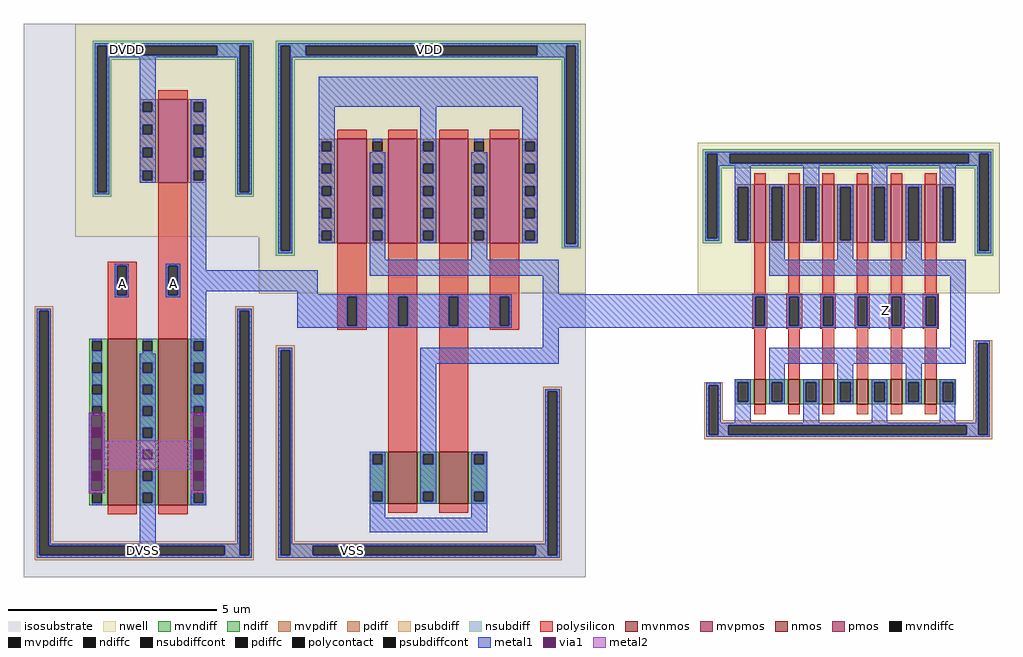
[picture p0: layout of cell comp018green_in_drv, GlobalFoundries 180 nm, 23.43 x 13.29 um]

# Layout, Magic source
magic
tech gf180mcuD
magscale 1 10
<< isosubstrate >>
rect -496 -83 2202 2575
<< nwell >>
rect -247 1551 2202 2575
rect 633 1281 2202 1551
rect 2741 1281 4189 2004
<< nmos >>
rect 3011 747 3067 867
rect 3175 747 3231 867
rect 3339 747 3395 867
rect 3503 747 3559 867
rect 3667 747 3723 867
rect 3831 747 3887 867
<< pmos >>
rect 3011 1523 3067 1803
rect 3175 1523 3231 1803
rect 3339 1523 3395 1803
rect 3503 1523 3559 1803
rect 3667 1523 3723 1803
rect 3831 1523 3887 1803
<< mvnmos >>
rect -92 263 48 1063
rect 152 263 292 1063
rect 1255 270 1395 520
rect 1499 270 1639 520
<< mvpmos >>
rect 152 1811 292 2211
rect 1011 1522 1151 2022
rect 1255 1522 1395 2022
rect 1499 1522 1639 2022
rect 1743 1522 1883 2022
<< ndiff >>
rect 2919 854 3011 867
rect 2919 760 2932 854
rect 2982 760 3011 854
rect 2919 747 3011 760
rect 3067 854 3175 867
rect 3067 760 3096 854
rect 3146 760 3175 854
rect 3067 747 3175 760
rect 3231 854 3339 867
rect 3231 760 3260 854
rect 3310 760 3339 854
rect 3231 747 3339 760
rect 3395 854 3503 867
rect 3395 760 3424 854
rect 3474 760 3503 854
rect 3395 747 3503 760
rect 3559 854 3667 867
rect 3559 760 3588 854
rect 3638 760 3667 854
rect 3559 747 3667 760
rect 3723 854 3831 867
rect 3723 760 3752 854
rect 3802 760 3831 854
rect 3723 747 3831 760
rect 3887 854 3979 867
rect 3887 760 3916 854
rect 3966 760 3979 854
rect 3887 747 3979 760
<< pdiff >>
rect 2919 1790 3011 1803
rect 2919 1536 2932 1790
rect 2982 1536 3011 1790
rect 2919 1523 3011 1536
rect 3067 1790 3175 1803
rect 3067 1536 3096 1790
rect 3146 1536 3175 1790
rect 3067 1523 3175 1536
rect 3231 1790 3339 1803
rect 3231 1536 3260 1790
rect 3310 1536 3339 1790
rect 3231 1523 3339 1536
rect 3395 1790 3503 1803
rect 3395 1536 3424 1790
rect 3474 1536 3503 1790
rect 3395 1523 3503 1536
rect 3559 1790 3667 1803
rect 3559 1536 3588 1790
rect 3638 1536 3667 1790
rect 3559 1523 3667 1536
rect 3723 1790 3831 1803
rect 3723 1536 3752 1790
rect 3802 1536 3831 1790
rect 3723 1523 3831 1536
rect 3887 1790 3979 1803
rect 3887 1536 3916 1790
rect 3966 1536 3979 1790
rect 3887 1523 3979 1536
<< mvndiff >>
rect -180 1050 -92 1063
rect -180 1004 -167 1050
rect -121 1004 -92 1050
rect -180 946 -92 1004
rect -180 900 -167 946
rect -121 900 -92 946
rect -180 842 -92 900
rect -180 796 -167 842
rect -121 796 -92 842
rect -180 738 -92 796
rect -180 692 -167 738
rect -121 692 -92 738
rect -180 634 -92 692
rect -180 588 -167 634
rect -121 588 -92 634
rect -180 530 -92 588
rect -180 484 -167 530
rect -121 484 -92 530
rect -180 426 -92 484
rect -180 380 -167 426
rect -121 380 -92 426
rect -180 322 -92 380
rect -180 276 -167 322
rect -121 276 -92 322
rect -180 263 -92 276
rect 48 1050 152 1063
rect 48 1004 77 1050
rect 123 1004 152 1050
rect 48 946 152 1004
rect 48 900 77 946
rect 123 900 152 946
rect 48 842 152 900
rect 48 796 77 842
rect 123 796 152 842
rect 48 738 152 796
rect 48 692 77 738
rect 123 692 152 738
rect 48 634 152 692
rect 48 588 77 634
rect 123 588 152 634
rect 48 530 152 588
rect 48 484 77 530
rect 123 484 152 530
rect 48 426 152 484
rect 48 380 77 426
rect 123 380 152 426
rect 48 322 152 380
rect 48 276 77 322
rect 123 276 152 322
rect 48 263 152 276
rect 292 1050 380 1063
rect 292 1004 321 1050
rect 367 1004 380 1050
rect 292 946 380 1004
rect 292 900 321 946
rect 367 900 380 946
rect 292 842 380 900
rect 292 796 321 842
rect 367 796 380 842
rect 292 738 380 796
rect 292 692 321 738
rect 367 692 380 738
rect 292 634 380 692
rect 292 588 321 634
rect 367 588 380 634
rect 292 530 380 588
rect 292 484 321 530
rect 367 484 380 530
rect 292 426 380 484
rect 292 380 321 426
rect 367 380 380 426
rect 292 322 380 380
rect 292 276 321 322
rect 367 276 380 322
rect 292 263 380 276
rect 1167 507 1255 520
rect 1167 461 1180 507
rect 1226 461 1255 507
rect 1167 329 1255 461
rect 1167 283 1180 329
rect 1226 283 1255 329
rect 1167 270 1255 283
rect 1395 507 1499 520
rect 1395 461 1424 507
rect 1470 461 1499 507
rect 1395 329 1499 461
rect 1395 283 1424 329
rect 1470 283 1499 329
rect 1395 270 1499 283
rect 1639 507 1727 520
rect 1639 461 1668 507
rect 1714 461 1727 507
rect 1639 329 1727 461
rect 1639 283 1668 329
rect 1714 283 1727 329
rect 1639 270 1727 283
<< mvpdiff >>
rect 64 2198 152 2211
rect 64 2152 77 2198
rect 123 2152 152 2198
rect 64 2089 152 2152
rect 64 2043 77 2089
rect 123 2043 152 2089
rect 64 1980 152 2043
rect 64 1934 77 1980
rect 123 1934 152 1980
rect 64 1870 152 1934
rect 64 1824 77 1870
rect 123 1824 152 1870
rect 64 1811 152 1824
rect 292 2198 380 2211
rect 292 2152 321 2198
rect 367 2152 380 2198
rect 292 2089 380 2152
rect 292 2043 321 2089
rect 367 2043 380 2089
rect 292 1980 380 2043
rect 292 1934 321 1980
rect 367 1934 380 1980
rect 292 1870 380 1934
rect 292 1824 321 1870
rect 367 1824 380 1870
rect 292 1811 380 1824
rect 923 2009 1011 2022
rect 923 1963 936 2009
rect 982 1963 1011 2009
rect 923 1902 1011 1963
rect 923 1856 936 1902
rect 982 1856 1011 1902
rect 923 1795 1011 1856
rect 923 1749 936 1795
rect 982 1749 1011 1795
rect 923 1688 1011 1749
rect 923 1642 936 1688
rect 982 1642 1011 1688
rect 923 1581 1011 1642
rect 923 1535 936 1581
rect 982 1535 1011 1581
rect 923 1522 1011 1535
rect 1151 2009 1255 2022
rect 1151 1963 1180 2009
rect 1226 1963 1255 2009
rect 1151 1902 1255 1963
rect 1151 1856 1180 1902
rect 1226 1856 1255 1902
rect 1151 1795 1255 1856
rect 1151 1749 1180 1795
rect 1226 1749 1255 1795
rect 1151 1688 1255 1749
rect 1151 1642 1180 1688
rect 1226 1642 1255 1688
rect 1151 1581 1255 1642
rect 1151 1535 1180 1581
rect 1226 1535 1255 1581
rect 1151 1522 1255 1535
rect 1395 2009 1499 2022
rect 1395 1963 1424 2009
rect 1470 1963 1499 2009
rect 1395 1902 1499 1963
rect 1395 1856 1424 1902
rect 1470 1856 1499 1902
rect 1395 1795 1499 1856
rect 1395 1749 1424 1795
rect 1470 1749 1499 1795
rect 1395 1688 1499 1749
rect 1395 1642 1424 1688
rect 1470 1642 1499 1688
rect 1395 1581 1499 1642
rect 1395 1535 1424 1581
rect 1470 1535 1499 1581
rect 1395 1522 1499 1535
rect 1639 2009 1743 2022
rect 1639 1963 1668 2009
rect 1714 1963 1743 2009
rect 1639 1902 1743 1963
rect 1639 1856 1668 1902
rect 1714 1856 1743 1902
rect 1639 1795 1743 1856
rect 1639 1749 1668 1795
rect 1714 1749 1743 1795
rect 1639 1688 1743 1749
rect 1639 1642 1668 1688
rect 1714 1642 1743 1688
rect 1639 1581 1743 1642
rect 1639 1535 1668 1581
rect 1714 1535 1743 1581
rect 1639 1522 1743 1535
rect 1883 2009 1971 2022
rect 1883 1963 1912 2009
rect 1958 1963 1971 2009
rect 1883 1902 1971 1963
rect 1883 1856 1912 1902
rect 1958 1856 1971 1902
rect 1883 1795 1971 1856
rect 1883 1749 1912 1795
rect 1958 1749 1971 1795
rect 1883 1688 1971 1749
rect 1883 1642 1912 1688
rect 1958 1642 1971 1688
rect 1883 1581 1971 1642
rect 1883 1535 1912 1581
rect 1958 1535 1971 1581
rect 1883 1522 1971 1535
<< ndiffc >>
rect 2932 760 2982 854
rect 3096 760 3146 854
rect 3260 760 3310 854
rect 3424 760 3474 854
rect 3588 760 3638 854
rect 3752 760 3802 854
rect 3916 760 3966 854
<< pdiffc >>
rect 2932 1536 2982 1790
rect 3096 1536 3146 1790
rect 3260 1536 3310 1790
rect 3424 1536 3474 1790
rect 3588 1536 3638 1790
rect 3752 1536 3802 1790
rect 3916 1536 3966 1790
<< mvndiffc >>
rect -167 1004 -121 1050
rect -167 900 -121 946
rect -167 796 -121 842
rect -167 692 -121 738
rect -167 588 -121 634
rect -167 484 -121 530
rect -167 380 -121 426
rect -167 276 -121 322
rect 77 1004 123 1050
rect 77 900 123 946
rect 77 796 123 842
rect 77 692 123 738
rect 77 588 123 634
rect 77 484 123 530
rect 77 380 123 426
rect 77 276 123 322
rect 321 1004 367 1050
rect 321 900 367 946
rect 321 796 367 842
rect 321 692 367 738
rect 321 588 367 634
rect 321 484 367 530
rect 321 380 367 426
rect 321 276 367 322
rect 1180 461 1226 507
rect 1180 283 1226 329
rect 1424 461 1470 507
rect 1424 283 1470 329
rect 1668 461 1714 507
rect 1668 283 1714 329
<< mvpdiffc >>
rect 77 2152 123 2198
rect 77 2043 123 2089
rect 77 1934 123 1980
rect 77 1824 123 1870
rect 321 2152 367 2198
rect 321 2043 367 2089
rect 321 1934 367 1980
rect 321 1824 367 1870
rect 936 1963 982 2009
rect 936 1856 982 1902
rect 936 1749 982 1795
rect 936 1642 982 1688
rect 936 1535 982 1581
rect 1180 1963 1226 2009
rect 1180 1856 1226 1902
rect 1180 1749 1226 1795
rect 1180 1642 1226 1688
rect 1180 1535 1226 1581
rect 1424 1963 1470 2009
rect 1424 1856 1470 1902
rect 1424 1749 1470 1795
rect 1424 1642 1470 1688
rect 1424 1535 1470 1581
rect 1668 1963 1714 2009
rect 1668 1856 1714 1902
rect 1668 1749 1714 1795
rect 1668 1642 1714 1688
rect 1668 1535 1714 1581
rect 1912 1963 1958 2009
rect 1912 1856 1958 1902
rect 1912 1749 1958 1795
rect 1912 1642 1958 1688
rect 1912 1535 1958 1581
<< psubdiff >>
rect -443 1196 -353 1218
rect -443 22 -421 1196
rect -375 90 -353 1196
rect 520 1196 610 1218
rect 520 90 542 1196
rect -375 68 542 90
rect 471 22 542 68
rect 588 22 610 1196
rect -443 0 610 22
rect 716 1008 806 1030
rect 716 22 738 1008
rect 784 90 806 1008
rect 4064 1041 4154 1055
rect 2771 840 2861 854
rect 1998 810 2088 832
rect 1998 90 2020 810
rect 784 68 2020 90
rect 784 22 892 68
rect 1962 22 2020 68
rect 2066 22 2088 810
rect 2771 602 2793 840
rect 2839 670 2861 840
rect 4064 670 4086 1041
rect 2839 648 4086 670
rect 2839 602 2887 648
rect 4032 602 4086 648
rect 4132 602 4154 1041
rect 2771 580 4154 602
rect 716 0 2088 22
<< nsubdiff >>
rect -164 2470 610 2492
rect -164 1766 -142 2470
rect -96 2424 12 2470
rect 434 2424 542 2470
rect -96 2402 542 2424
rect -96 1766 -74 2402
rect -164 1744 -74 1766
rect 520 1766 542 2402
rect 588 1766 610 2470
rect 520 1744 610 1766
rect 716 2470 2178 2492
rect 716 1484 738 2470
rect 784 2424 860 2470
rect 1970 2424 2110 2470
rect 784 2402 2110 2424
rect 784 1484 806 2402
rect 716 1462 806 1484
rect 2088 1519 2110 2402
rect 2156 1519 2178 2470
rect 2765 1950 4160 1972
rect 2765 1544 2787 1950
rect 2833 1904 2894 1950
rect 4041 1904 4092 1950
rect 2833 1882 4092 1904
rect 2833 1544 2855 1882
rect 2765 1522 2855 1544
rect 2088 1497 2178 1519
rect 4070 1484 4092 1882
rect 4138 1484 4160 1950
rect 4070 1462 4160 1484
<< psubdiffcont >>
rect -421 68 -375 1196
rect -421 22 471 68
rect 542 22 588 1196
rect 738 22 784 1008
rect 892 22 1962 68
rect 2020 22 2066 810
rect 2793 602 2839 840
rect 2887 602 4032 648
rect 4086 602 4132 1041
<< nsubdiffcont >>
rect -142 1766 -96 2470
rect 12 2424 434 2470
rect 542 1766 588 2470
rect 738 1484 784 2470
rect 860 2424 1970 2470
rect 2110 1519 2156 2470
rect 2787 1544 2833 1950
rect 2894 1904 4041 1950
rect 4092 1484 4138 1950
<< polysilicon >>
rect 152 2211 292 2255
rect -92 1412 48 1431
rect -92 1272 -47 1412
rect -1 1272 48 1412
rect -92 1063 48 1272
rect 152 1412 292 1811
rect 1011 2022 1151 2066
rect 1255 2022 1395 2066
rect 1499 2022 1639 2066
rect 1743 2022 1883 2066
rect 152 1272 199 1412
rect 245 1272 292 1412
rect 152 1063 292 1272
rect 1011 1265 1151 1522
rect -92 219 48 263
rect 152 219 292 263
rect 1011 1125 1058 1265
rect 1104 1125 1151 1265
rect 1011 1106 1151 1125
rect 1255 1265 1395 1522
rect 1255 1125 1302 1265
rect 1348 1125 1395 1265
rect 1255 520 1395 1125
rect 1499 1265 1639 1522
rect 1499 1125 1546 1265
rect 1592 1125 1639 1265
rect 1499 520 1639 1125
rect 1743 1265 1883 1522
rect 3011 1803 3067 1857
rect 3175 1803 3231 1857
rect 3339 1803 3395 1857
rect 3503 1803 3559 1857
rect 3667 1803 3723 1857
rect 3831 1803 3887 1857
rect 3011 1279 3067 1523
rect 3175 1279 3231 1523
rect 3339 1279 3395 1523
rect 3503 1279 3559 1523
rect 3667 1279 3723 1523
rect 3831 1279 3887 1523
rect 1743 1125 1790 1265
rect 1836 1125 1883 1265
rect 1743 1106 1883 1125
rect 3001 1265 3075 1279
rect 3001 1125 3016 1265
rect 3062 1125 3075 1265
rect 3001 1111 3075 1125
rect 3165 1265 3241 1279
rect 3165 1125 3180 1265
rect 3226 1125 3241 1265
rect 3165 1111 3241 1125
rect 3329 1265 3403 1279
rect 3329 1125 3344 1265
rect 3390 1125 3403 1265
rect 3329 1111 3403 1125
rect 3493 1265 3567 1279
rect 3493 1125 3508 1265
rect 3554 1125 3567 1265
rect 3493 1111 3567 1125
rect 3657 1265 3733 1279
rect 3657 1125 3672 1265
rect 3718 1125 3733 1265
rect 3657 1111 3733 1125
rect 3821 1265 3897 1279
rect 3821 1125 3836 1265
rect 3882 1125 3897 1265
rect 3821 1111 3897 1125
rect 3011 867 3067 1111
rect 3175 867 3231 1111
rect 3339 867 3395 1111
rect 3503 867 3559 1111
rect 3667 867 3723 1111
rect 3831 867 3887 1111
rect 1255 226 1395 270
rect 1499 226 1639 270
rect 3011 700 3067 747
rect 3175 700 3231 747
rect 3339 700 3395 747
rect 3503 700 3559 747
rect 3667 700 3723 747
rect 3831 700 3887 747
<< polycontact >>
rect -47 1272 -1 1412
rect 199 1272 245 1412
rect 1058 1125 1104 1265
rect 1302 1125 1348 1265
rect 1546 1125 1592 1265
rect 1790 1125 1836 1265
rect 3016 1125 3062 1265
rect 3180 1125 3226 1265
rect 3344 1125 3390 1265
rect 3508 1125 3554 1265
rect 3672 1125 3718 1265
rect 3836 1125 3882 1265
<< metal1 >>
rect -153 2470 599 2481
rect -153 1766 -142 2470
rect -96 2424 12 2470
rect 434 2424 542 2470
rect -96 2413 542 2424
rect -96 1766 -85 2413
rect 62 2198 138 2413
rect 62 2152 77 2198
rect 123 2152 138 2198
rect 62 2089 138 2152
rect 62 2043 77 2089
rect 123 2043 138 2089
rect 62 1980 138 2043
rect 62 1934 77 1980
rect 123 1934 138 1980
rect 62 1870 138 1934
rect 62 1824 77 1870
rect 123 1824 138 1870
rect 62 1811 138 1824
rect 306 2198 382 2211
rect 306 2152 321 2198
rect 367 2152 382 2198
rect 306 2089 382 2152
rect 306 2043 321 2089
rect 367 2043 382 2089
rect 306 1980 382 2043
rect 306 1934 321 1980
rect 367 1934 382 1980
rect 306 1870 382 1934
rect 306 1824 321 1870
rect 367 1824 382 1870
rect -153 1755 -85 1766
rect -58 1412 10 1423
rect -58 1272 -47 1412
rect -1 1272 10 1412
rect -58 1261 10 1272
rect 188 1412 256 1423
rect 188 1272 199 1412
rect 245 1272 256 1412
rect 188 1261 256 1272
rect 306 1391 382 1824
rect 531 1766 542 2413
rect 588 1766 599 2470
rect 531 1755 599 1766
rect 727 2470 2167 2481
rect 727 1484 738 2470
rect 784 2424 860 2470
rect 1970 2424 2110 2470
rect 784 2413 2110 2424
rect 784 1484 795 2413
rect 921 2177 1973 2321
rect 921 2009 997 2177
rect 921 1963 936 2009
rect 982 1963 997 2009
rect 921 1902 997 1963
rect 1180 2009 1226 2022
rect 1180 1958 1226 1963
rect 1409 2009 1485 2177
rect 1409 1963 1424 2009
rect 1470 1963 1485 2009
rect 921 1856 936 1902
rect 982 1856 997 1902
rect 921 1795 997 1856
rect 921 1749 936 1795
rect 982 1749 997 1795
rect 921 1688 997 1749
rect 921 1642 936 1688
rect 982 1642 997 1688
rect 921 1581 997 1642
rect 921 1535 936 1581
rect 982 1535 997 1581
rect 921 1522 997 1535
rect 1165 1902 1241 1958
rect 1165 1856 1180 1902
rect 1226 1856 1241 1902
rect 1165 1795 1241 1856
rect 1165 1749 1180 1795
rect 1226 1749 1241 1795
rect 1165 1688 1241 1749
rect 1165 1642 1180 1688
rect 1226 1642 1241 1688
rect 1165 1581 1241 1642
rect 1165 1535 1180 1581
rect 1226 1535 1241 1581
rect 727 1473 795 1484
rect 1165 1442 1241 1535
rect 1409 1902 1485 1963
rect 1668 2009 1714 2022
rect 1668 1958 1714 1963
rect 1897 2009 1973 2177
rect 1897 1963 1912 2009
rect 1958 1963 1973 2009
rect 1409 1856 1424 1902
rect 1470 1856 1485 1902
rect 1409 1795 1485 1856
rect 1409 1749 1424 1795
rect 1470 1749 1485 1795
rect 1409 1688 1485 1749
rect 1409 1642 1424 1688
rect 1470 1642 1485 1688
rect 1409 1581 1485 1642
rect 1409 1535 1424 1581
rect 1470 1535 1485 1581
rect 1409 1522 1485 1535
rect 1653 1902 1729 1958
rect 1653 1856 1668 1902
rect 1714 1856 1729 1902
rect 1653 1795 1729 1856
rect 1653 1749 1668 1795
rect 1714 1749 1729 1795
rect 1653 1688 1729 1749
rect 1653 1642 1668 1688
rect 1714 1642 1729 1688
rect 1653 1581 1729 1642
rect 1653 1535 1668 1581
rect 1714 1535 1729 1581
rect 1653 1442 1729 1535
rect 1897 1902 1973 1963
rect 1897 1856 1912 1902
rect 1958 1856 1973 1902
rect 1897 1795 1973 1856
rect 1897 1749 1912 1795
rect 1958 1749 1973 1795
rect 1897 1688 1973 1749
rect 1897 1642 1912 1688
rect 1958 1642 1973 1688
rect 1897 1581 1973 1642
rect 1897 1535 1912 1581
rect 1958 1535 1973 1581
rect 1897 1522 1973 1535
rect 2099 1519 2110 2413
rect 2156 1519 2167 2470
rect 2776 1950 4149 1961
rect 2776 1544 2787 1950
rect 2833 1904 2894 1950
rect 4041 1904 4092 1950
rect 2833 1893 4092 1904
rect 2833 1544 2844 1893
rect 2776 1533 2844 1544
rect 2919 1790 2995 1893
rect 2919 1536 2932 1790
rect 2982 1536 2995 1790
rect 2919 1523 2995 1536
rect 3083 1790 3159 1803
rect 3083 1536 3096 1790
rect 3146 1536 3159 1790
rect 2099 1503 2167 1519
rect 3083 1445 3159 1536
rect 3247 1790 3323 1893
rect 3247 1536 3260 1790
rect 3310 1536 3323 1790
rect 3247 1523 3323 1536
rect 3411 1790 3487 1803
rect 3411 1536 3424 1790
rect 3474 1536 3487 1790
rect 3084 1442 3159 1445
rect 3411 1442 3487 1536
rect 3575 1790 3651 1893
rect 3575 1536 3588 1790
rect 3638 1536 3651 1790
rect 3575 1523 3651 1536
rect 3739 1790 3815 1803
rect 3739 1536 3752 1790
rect 3802 1536 3815 1790
rect 3739 1442 3815 1536
rect 3903 1790 3979 1893
rect 3903 1536 3916 1790
rect 3966 1536 3979 1790
rect 3903 1523 3979 1536
rect 4081 1484 4092 1893
rect 4138 1484 4149 1950
rect 4081 1473 4149 1484
rect 306 1291 917 1391
rect 1165 1366 2073 1442
rect 3084 1366 4028 1442
rect -432 1196 -364 1207
rect -432 22 -421 1196
rect -375 79 -364 1196
rect -167 1050 -121 1063
rect -167 946 -121 1004
rect 77 1050 123 1063
rect 77 990 123 1004
rect 306 1050 382 1291
rect 817 1276 917 1291
rect 1997 1276 2073 1366
rect 817 1265 1847 1276
rect 306 1004 321 1050
rect 367 1004 382 1050
rect -167 842 -121 900
rect -167 738 -121 796
rect -182 696 -167 708
rect 62 946 138 990
rect 62 900 77 946
rect 123 900 138 946
rect 62 842 138 900
rect 62 796 77 842
rect 123 796 138 842
rect 62 738 138 796
rect -121 696 -106 708
rect -182 332 -170 696
rect -118 332 -106 696
rect -182 322 -106 332
rect -182 320 -167 322
rect -121 320 -106 322
rect 62 692 77 738
rect 123 692 138 738
rect 62 634 138 692
rect 62 588 77 634
rect 123 588 138 634
rect 62 530 138 588
rect 62 484 77 530
rect 123 484 138 530
rect 62 426 138 484
rect 62 380 77 426
rect 123 380 138 426
rect 62 322 138 380
rect -167 263 -121 276
rect 62 276 77 322
rect 123 276 138 322
rect 62 79 138 276
rect 306 946 382 1004
rect 306 900 321 946
rect 367 900 382 946
rect 306 842 382 900
rect 306 796 321 842
rect 367 796 382 842
rect 306 738 382 796
rect 306 696 321 738
rect 367 696 382 738
rect 306 332 318 696
rect 370 332 382 696
rect 306 322 382 332
rect 306 276 321 322
rect 367 276 382 322
rect 306 263 382 276
rect 531 1196 599 1207
rect 531 79 542 1196
rect -375 68 542 79
rect 471 22 542 68
rect 588 22 599 1196
rect 817 1125 1058 1265
rect 1104 1125 1302 1265
rect 1348 1125 1546 1265
rect 1592 1125 1790 1265
rect 1836 1125 1847 1265
rect 817 1114 1847 1125
rect 1997 1265 3893 1276
rect 1997 1125 3016 1265
rect 3062 1125 3180 1265
rect 3226 1125 3344 1265
rect 3390 1125 3508 1265
rect 3554 1125 3672 1265
rect 3718 1125 3836 1265
rect 3882 1125 3893 1265
rect 1997 1114 3893 1125
rect 1997 1019 2073 1114
rect 3952 1019 4028 1366
rect -432 11 599 22
rect 727 1008 795 1019
rect 727 22 738 1008
rect 784 79 795 1008
rect 1409 943 2073 1019
rect 3083 943 4028 1019
rect 4075 1041 4143 1053
rect 1165 507 1241 520
rect 1165 461 1180 507
rect 1226 461 1241 507
rect 1165 329 1241 461
rect 1165 283 1180 329
rect 1226 283 1241 329
rect 1165 204 1241 283
rect 1409 507 1485 943
rect 2919 854 2995 867
rect 2782 840 2850 852
rect 2009 810 2077 821
rect 1409 461 1424 507
rect 1470 461 1485 507
rect 1409 329 1485 461
rect 1409 283 1424 329
rect 1470 283 1485 329
rect 1409 270 1485 283
rect 1653 507 1729 520
rect 1653 461 1668 507
rect 1714 461 1729 507
rect 1653 329 1729 461
rect 1653 283 1668 329
rect 1714 283 1729 329
rect 1653 204 1729 283
rect 1165 134 1729 204
rect 2009 79 2020 810
rect 784 68 2020 79
rect 784 22 892 68
rect 1962 22 2020 68
rect 2066 22 2077 810
rect 2782 602 2793 840
rect 2839 659 2850 840
rect 2919 760 2932 854
rect 2982 760 2995 854
rect 2919 659 2995 760
rect 3083 854 3159 943
rect 3083 760 3096 854
rect 3146 760 3159 854
rect 3083 748 3159 760
rect 3247 854 3323 867
rect 3247 760 3260 854
rect 3310 760 3323 854
rect 3247 659 3323 760
rect 3411 854 3487 943
rect 3411 760 3424 854
rect 3474 760 3487 854
rect 3411 748 3487 760
rect 3575 854 3651 867
rect 3575 760 3588 854
rect 3638 760 3651 854
rect 3575 659 3651 760
rect 3739 854 3815 943
rect 3739 760 3752 854
rect 3802 760 3815 854
rect 3739 748 3815 760
rect 3901 854 3977 867
rect 3901 760 3916 854
rect 3966 760 3977 854
rect 3901 659 3977 760
rect 4075 659 4086 1041
rect 2839 648 4086 659
rect 2839 602 2887 648
rect 4032 602 4086 648
rect 4132 602 4143 1041
rect 2782 591 4143 602
rect 727 11 2077 22
<< via1 >>
rect -170 692 -167 696
rect -167 692 -121 696
rect -121 692 -118 696
rect -170 634 -118 692
rect -170 588 -167 634
rect -167 588 -121 634
rect -121 588 -118 634
rect -170 530 -118 588
rect -170 484 -167 530
rect -167 484 -121 530
rect -121 484 -118 530
rect -170 426 -118 484
rect -170 380 -167 426
rect -167 380 -121 426
rect -121 380 -118 426
rect -170 332 -118 380
rect 318 692 321 696
rect 321 692 367 696
rect 367 692 370 696
rect 318 634 370 692
rect 318 588 321 634
rect 321 588 367 634
rect 367 588 370 634
rect 318 530 370 588
rect 318 484 321 530
rect 321 484 367 530
rect 367 484 370 530
rect 318 426 370 484
rect 318 380 321 426
rect 321 380 367 426
rect 367 380 370 426
rect 318 332 370 380
<< metal2 >>
rect -182 696 -106 708
rect -182 332 -170 696
rect -118 573 -106 696
rect 306 696 382 708
rect 306 573 318 696
rect -118 435 318 573
rect -118 332 -106 435
rect -182 320 -106 332
rect 306 332 318 435
rect 370 332 382 696
rect 306 320 382 332
<< labels >>
rlabel metal1 s 2 2452 2 2452 4 DVDD
port 1 nsew
rlabel metal1 s 225 1326 225 1326 4 A
port 2 nsew
rlabel metal1 s 80 45 80 45 4 DVSS
port 3 nsew
rlabel metal1 s -21 1326 -21 1326 4 A
port 2 nsew
rlabel metal1 s 1452 2452 1452 2452 4 VDD
port 4 nsew
rlabel metal1 s 1082 45 1082 45 4 VSS
port 5 nsew
rlabel metal1 s 3642 1200 3642 1200 4 Z
port 6 nsew
<< end >>
